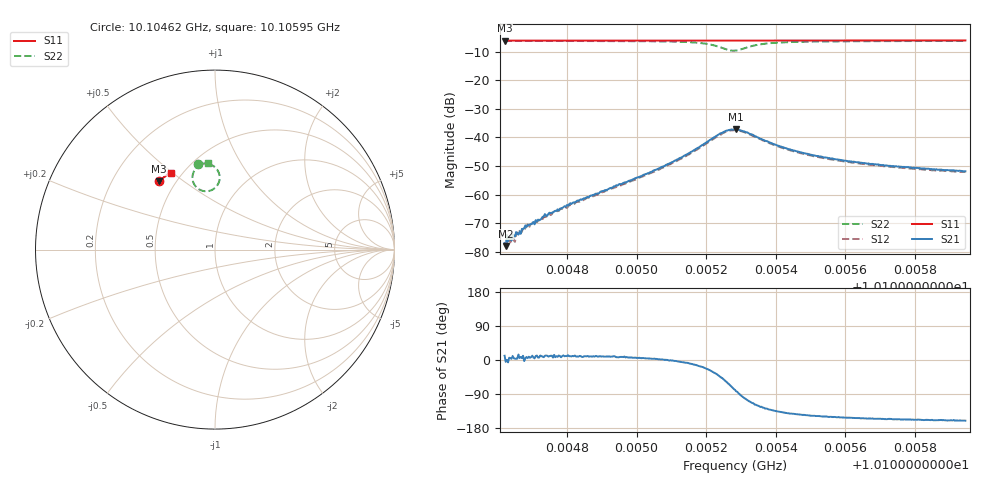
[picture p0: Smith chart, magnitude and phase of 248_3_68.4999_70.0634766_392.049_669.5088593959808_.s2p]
#  HZ  S  RI  R  50.00
! Rohde & Schwarz Vector Network Analyzer
! Rohde-Schwarz,ZNB20-2Port,1311601062101988,3.16
! Created: UTC 3/20/2024, 5:14:51 PM
! freq[Hz]  re:S11  im:S11  re:S21  im:S21  re:S12  im:S12  re:S22  im:S22
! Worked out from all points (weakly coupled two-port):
!   401 points, 10.10462 GHz to 10.10595 GHz, reference 50 ohm
!   highest |S21| = -37.15 dB at 10.10529 GHz (marker M1); lowest = -77.9 dB at 10.10462 GHz (marker M2)
!   lowest |S11| = -6.2 dB at 10.10462 GHz (marker M3), VSWR 2.94, Z = 20.3 + j20.4 ohm
!   |S11| at or under -10 dB: nowhere
!   |S22| runs from -9.7 to -6.3 dB; largest |S21 - S12| = 0.0016
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1.0104621e10  -0.312 0.3809  0.00014 2.78e-05  0.000128 3.43e-05  -0.0934 0.4756
1.0104624e10  -0.3118 0.381  0.000127 -1.07e-05  0.000125 -1.14e-05  -0.0932 0.4755
1.0104637e10  -0.3111 0.3816  0.00018 1.59e-05  0.000146 7.39e-06  -0.0921 0.4757
1.0104644e10  -0.3109 0.3819  0.000196 3.63e-05  0.000179 3.5e-05  -0.0916 0.4761
1.010466e10  -0.3101 0.3826  0.000195 5.04e-05  0.000196 4.33e-05  -0.0899 0.4762
1.0104677e10  -0.3093 0.3831  0.000259 -1.26e-05  0.000237 5.67e-05  -0.0885 0.4767
1.0104703e10  -0.3081 0.3845  0.00033 3.69e-05  0.000344 8.88e-05  -0.0861 0.477
1.0104743e10  -0.3064 0.3861  0.000418 8.3e-05  0.00041 8.38e-05  -0.0824 0.4775
1.0104843e10  -0.3017 0.3898  0.000805 0.000118  0.000759 0.000214  -0.0718 0.4788
1.0105064e10  -0.2909 0.3985  0.00289 9.01e-05  0.00271 0.00034  -0.0349 0.4769
1.0105144e10  -0.287 0.4014  0.005 -0.000635  0.00479 -0.000176  -0.00816 0.465
1.0105227e10  -0.2828 0.4042  0.00849 -0.00595  0.00868 -0.00483  0.0262 0.4001
1.010526e10  -0.2811 0.4048  0.00682 -0.0113  0.00774 -0.0101  -0.000167 0.3435
1.0105283e10  -0.2804 0.4055  0.00263 -0.0136  0.00395 -0.0128  -0.051 0.3251
1.0105286e10  -0.2801 0.4056  0.00183 -0.0138  0.00314 -0.013  -0.0587 0.3255
1.0105323e10  -0.279 0.407  -0.00377 -0.0112  -0.00247 -0.0112  -0.1167 0.3649
1.0105373e10  -0.2768 0.4091  -0.00531 -0.0068  -0.00455 -0.00702  -0.1234 0.4195
1.0105422e10  -0.2744 0.411  -0.00502 -0.00449  -0.00444 -0.00472  -0.1111 0.4459
1.0105505e10  -0.2702 0.4141  -0.00417 -0.00268  -0.00372 -0.00294  -0.0922 0.4646
1.0105611e10  -0.265 0.418  -0.0034 -0.00179  -0.00312 -0.00198  -0.075 0.4742
1.0105727e10  -0.2591 0.422  -0.0029 -0.00133  -0.00268 -0.0015  -0.0613 0.4791
1.0105946e10  -0.2478 0.4292  -0.00241 -0.000874  -0.00225 -0.00104  -0.0409 0.4838
